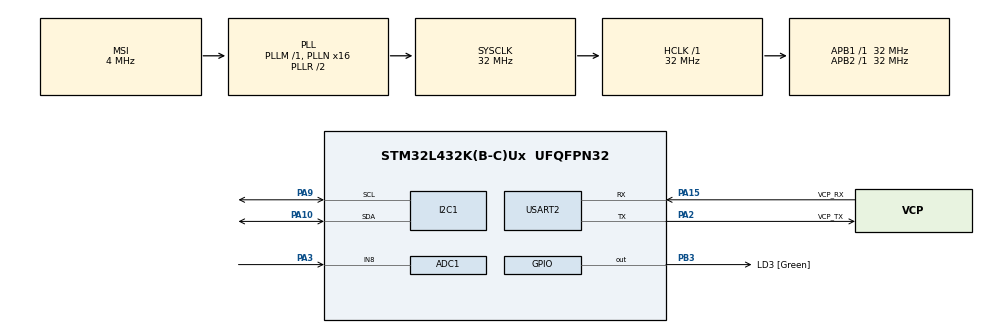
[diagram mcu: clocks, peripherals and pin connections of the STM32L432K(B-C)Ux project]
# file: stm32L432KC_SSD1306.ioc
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ADC1.Channel-2\#ChannelRegularConversion=ADC_CHANNEL_8
ADC1.ContinuousConvMode=ENABLE
ADC1.NbrOfConversionFlag=1
ADC1.OffsetNumber-2\#ChannelRegularConversion=ADC_OFFSET_NONE
ADC1.Rank-2\#ChannelRegularConversion=1
ADC1.SamplingTime-2\#ChannelRegularConversion=ADC_SAMPLETIME_2CYCLES_5
ADC1.master=1
I2C1.Timing=0x00707CBB
Mcu.Family=STM32L4
Mcu.Name=STM32L432K(B-C)Ux
Mcu.Package=UFQFPN32
NVIC.PriorityGroup=NVIC_PRIORITYGROUP_4
PA0.GPIO_Label=MCO [High speed clock in]
PA0.Mode=HSE-External-Clock-Source-for-LittleOrca
PA0.Signal=RCC_CK_IN
PA10.Mode=I2C
PA10.Signal=I2C1_SDA
PA13\ (JTMS-SWDIO).GPIO_Label=SWDIO
PA13\ (JTMS-SWDIO).Mode=Serial_Wire
PA13\ (JTMS-SWDIO).Signal=SYS_JTMS-SWDIO
PA14\ (JTCK-SWCLK).GPIO_Label=SWCLK
PA14\ (JTCK-SWCLK).Mode=Serial_Wire
PA14\ (JTCK-SWCLK).Signal=SYS_JTCK-SWCLK
PA15\ (JTDI).GPIO_Label=VCP_RX
PA15\ (JTDI).Mode=Asynchronous
PA15\ (JTDI).Signal=USART2_RX
PA2.GPIO_Label=VCP_TX
PA2.Mode=Asynchronous
PA2.Signal=USART2_TX
PA3.Signal=ADCx_IN8
PA9.Mode=I2C
PA9.Signal=I2C1_SCL
PB3\ (JTDO-TRACESWO).GPIO_Label=LD3 [Green]
PB3\ (JTDO-TRACESWO).Signal=GPIO_Output
PC14-OSC32_IN\ (PC14).Mode=LSE-External-Oscillator
PC14-OSC32_IN\ (PC14).Signal=RCC_OSC32_IN
PC15-OSC32_OUT\ (PC15).Mode=LSE-External-Oscillator
PC15-OSC32_OUT\ (PC15).Signal=RCC_OSC32_OUT
ProjectManager.HeapSize=0x200
ProjectManager.StackSize=0x400
ProjectManager.TargetToolchain=STM32CubeIDE
RCC.ADCFreq_Value=32000000
RCC.AHBFreq_Value=32000000
RCC.APB1Freq_Value=32000000
RCC.APB1TimFreq_Value=32000000
RCC.APB2Freq_Value=32000000
RCC.APB2TimFreq_Value=32000000
RCC.CortexFreq_Value=32000000
RCC.HCLKFreq_Value=32000000
RCC.HSE_VALUE=8000000
RCC.HSI16_VALUE=16000000
RCC.HSI48_VALUE=48000000
RCC.HSI_VALUE=16000000
RCC.MSI_VALUE=4000000
RCC.PLLMUL=RCC_PLLMUL_4
RCC.PLLN=16
RCC.PLLSAI1N=16
RCC.SYSCLKFreq_VALUE=32000000
RCC.SYSCLKSource=RCC_SYSCLKSOURCE_PLLCLK
RCC.USBFreq_Value=32000000
RCC.VCOOutputFreq_Value=64000000
SH.ADCx_IN8.0=ADC1_IN8,IN8-Single-Ended
USART2.VirtualMode-Asynchronous=VM_ASYNC
board=NUCLEO-L432KC

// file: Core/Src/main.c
/* USER CODE BEGIN Header */
/**
  ******************************************************************************
  * @file           : main.c
  * @brief          : Main program body
  ******************************************************************************
  * @attention
  *
  * <h2><center>&copy; Copyright (c) 2020 STMicroelectronics.
  * All rights reserved.</center></h2>
  *
  * This software component is licensed by ST under BSD 3-Clause license,
  * the "License"; You may not use this file except in compliance with the
  * License. You may obtain a copy of the License at:
  *                        opensource.org/licenses/BSD-3-Clause
  *
  ******************************************************************************
  */
/* USER CODE END Header */

#include "main.h"

/* USER CODE BEGIN Includes */
#include <string.h>
#include <stdio.h>
/* USER CODE END Includes */

/* USER CODE BEGIN PD */
#define SSD1306_USE_I2C
#define __DEBUG 1
#define BUFFERSIZE 100
#define I2CBUF	12
#define debug_print(x) 	do { if ( __DEBUG ) { strcpy(uartBuffer, x); HAL_UART_Transmit(&huart2, (unsigned char*) uartBuffer, strlen(uartBuffer), HAL_MAX_DELAY); }} while (0)
/* USER CODE END PD */

ADC_HandleTypeDef hadc1;

I2C_HandleTypeDef hi2c1;

UART_HandleTypeDef huart2;

/* USER CODE BEGIN PV */
const uint8_t SSD1306_ADDRESS = 0x3C << 1;
const uint8_t RANDOM_REG = 0x0F;

char uartBuffer[BUFFERSIZE] = "";
uint8_t I2CBuffer[I2CBUF] = {0};
HAL_StatusTypeDef returnValue = 0;
uint32_t adcValue=0;

/* USER CODE END PV */

void SystemClock_Config(void);
static void MX_GPIO_Init(void);
static void MX_USART2_UART_Init(void);
static void MX_ADC1_Init(void);
static void MX_I2C1_Init(void);

/* USER CODE BEGIN 0 */
void init() {
	ssd1306_RunTetris();
}
/* USER CODE END 0 */

int main(void)
{
  /* USER CODE BEGIN 1 */

	char buffer[50]="";
  /* USER CODE END 1 */

  /* MCU Configuration--------------------------------------------------------*/

  /* Reset of all peripherals, Initializes the Flash interface and the Systick. */
  HAL_Init();

  /* Configure the system clock */
  SystemClock_Config();

  /* Initialize all configured peripherals */
  MX_GPIO_Init();
  MX_USART2_UART_Init();
  MX_ADC1_Init();
  MX_I2C1_Init();

  /* Infinite loop */
  /* USER CODE BEGIN WHILE */
  debug_print("Hello from STM32L432KC dev board\r\n");
  init();
  while (1)
  {
    /* USER CODE END WHILE */

    /* USER CODE BEGIN 3 */
	  HAL_ADC_Start(&hadc1);
	  	  if( HAL_ADC_PollForConversion(&hadc1, HAL_MAX_DELAY) == HAL_OK)
	  	  {
	  		  adcValue = HAL_ADC_GetValue(&hadc1);
	  		  sprintf(buffer, "ADC: %d\r\n", adcValue%7+1);
	  		  HAL_UART_Transmit(&huart2, (unsigned char*) buffer, strlen(buffer), HAL_MAX_DELAY);
	  	  }
	  	  HAL_ADC_Stop(&hadc1);
	HAL_Delay(500);
  }
  /* USER CODE END 3 */
}
/* geeft een pseudo-random nummer op basis van de adcValue gemeten door de stm*/
int GetRandomNumber()
{
	adcValue = (adcValue%7)+1;
	return adcValue;
}
void SystemClock_Config(void)
{
  RCC_OscInitTypeDef RCC_OscInitStruct = {0};
  RCC_ClkInitTypeDef RCC_ClkInitStruct = {0};
  RCC_PeriphCLKInitTypeDef PeriphClkInit = {0};

  /** Configure LSE Drive Capability
  */
  HAL_PWR_EnableBkUpAccess();
  __HAL_RCC_LSEDRIVE_CONFIG(RCC_LSEDRIVE_LOW);
  /** Initializes the CPU, AHB and APB busses clocks
  */
  RCC_OscInitStruct.OscillatorType = RCC_OSCILLATORTYPE_LSE|RCC_OSCILLATORTYPE_MSI;
  RCC_OscInitStruct.LSEState = RCC_LSE_ON;
  RCC_OscInitStruct.MSIState = RCC_MSI_ON;
  RCC_OscInitStruct.MSICalibrationValue = 0;
  RCC_OscInitStruct.MSIClockRange = RCC_MSIRANGE_6;
  RCC_OscInitStruct.PLL.PLLState = RCC_PLL_ON;
  RCC_OscInitStruct.PLL.PLLSource = RCC_PLLSOURCE_MSI;
  RCC_OscInitStruct.PLL.PLLM = 1;
  RCC_OscInitStruct.PLL.PLLN = 16;
  RCC_OscInitStruct.PLL.PLLP = RCC_PLLP_DIV7;
  RCC_OscInitStruct.PLL.PLLQ = RCC_PLLQ_DIV2;
  RCC_OscInitStruct.PLL.PLLR = RCC_PLLR_DIV2;
  if (HAL_RCC_OscConfig(&RCC_OscInitStruct) != HAL_OK)
  {
    Error_Handler();
  }
  /** Initializes the CPU, AHB and APB busses clocks
  */
  RCC_ClkInitStruct.ClockType = RCC_CLOCKTYPE_HCLK|RCC_CLOCKTYPE_SYSCLK
                              |RCC_CLOCKTYPE_PCLK1|RCC_CLOCKTYPE_PCLK2;
  RCC_ClkInitStruct.SYSCLKSource = RCC_SYSCLKSOURCE_PLLCLK;
  RCC_ClkInitStruct.AHBCLKDivider = RCC_SYSCLK_DIV1;
  RCC_ClkInitStruct.APB1CLKDivider = RCC_HCLK_DIV1;
  RCC_ClkInitStruct.APB2CLKDivider = RCC_HCLK_DIV1;

  if (HAL_RCC_ClockConfig(&RCC_ClkInitStruct, FLASH_LATENCY_1) != HAL_OK)
  {
    Error_Handler();
  }
  PeriphClkInit.PeriphClockSelection = RCC_PERIPHCLK_USART2|RCC_PERIPHCLK_I2C1
                              |RCC_PERIPHCLK_ADC;
  PeriphClkInit.Usart2ClockSelection = RCC_USART2CLKSOURCE_PCLK1;
  PeriphClkInit.I2c1ClockSelection = RCC_I2C1CLKSOURCE_PCLK1;
  PeriphClkInit.AdcClockSelection = RCC_ADCCLKSOURCE_PLLSAI1;
  PeriphClkInit.PLLSAI1.PLLSAI1Source = RCC_PLLSOURCE_MSI;
  PeriphClkInit.PLLSAI1.PLLSAI1M = 1;
  PeriphClkInit.PLLSAI1.PLLSAI1N = 16;
  PeriphClkInit.PLLSAI1.PLLSAI1P = RCC_PLLP_DIV7;
  PeriphClkInit.PLLSAI1.PLLSAI1Q = RCC_PLLQ_DIV2;
  PeriphClkInit.PLLSAI1.PLLSAI1R = RCC_PLLR_DIV2;
  PeriphClkInit.PLLSAI1.PLLSAI1ClockOut = RCC_PLLSAI1_ADC1CLK;
  if (HAL_RCCEx_PeriphCLKConfig(&PeriphClkInit) != HAL_OK)
  {
    Error_Handler();
  }
  /** Configure the main internal regulator output voltage
  */
  if (HAL_PWREx_ControlVoltageScaling(PWR_REGULATOR_VOLTAGE_SCALE1) != HAL_OK)
  {
    Error_Handler();
  }
  /** Enable MSI Auto calibration
  */
  HAL_RCCEx_EnableMSIPLLMode();
}

static void MX_ADC1_Init(void)
{

  ADC_ChannelConfTypeDef sConfig = {0};

  /** Common config
  */
  hadc1.Instance = ADC1;
  hadc1.Init.ClockPrescaler = ADC_CLOCK_ASYNC_DIV1;
  hadc1.Init.Resolution = ADC_RESOLUTION_12B;
  hadc1.Init.DataAlign = ADC_DATAALIGN_RIGHT;
  hadc1.Init.ScanConvMode = ADC_SCAN_DISABLE;
  hadc1.Init.EOCSelection = ADC_EOC_SINGLE_CONV;
  hadc1.Init.LowPowerAutoWait = DISABLE;
  hadc1.Init.ContinuousConvMode = ENABLE;
  hadc1.Init.NbrOfConversion = 1;
  hadc1.Init.DiscontinuousConvMode = DISABLE;
  hadc1.Init.ExternalTrigConv = ADC_SOFTWARE_START;
  hadc1.Init.ExternalTrigConvEdge = ADC_EXTERNALTRIGCONVEDGE_NONE;
  hadc1.Init.DMAContinuousRequests = DISABLE;
  hadc1.Init.Overrun = ADC_OVR_DATA_PRESERVED;
  hadc1.Init.OversamplingMode = DISABLE;
  if (HAL_ADC_Init(&hadc1) != HAL_OK)
  {
    Error_Handler();
  }
  /** Configure Regular Channel
  */
  sConfig.Channel = ADC_CHANNEL_8;
  sConfig.Rank = ADC_REGULAR_RANK_1;
  sConfig.SamplingTime = ADC_SAMPLETIME_2CYCLES_5;
  sConfig.SingleDiff = ADC_SINGLE_ENDED;
  sConfig.OffsetNumber = ADC_OFFSET_NONE;
  sConfig.Offset = 0;
  if (HAL_ADC_ConfigChannel(&hadc1, &sConfig) != HAL_OK)
  {
    Error_Handler();
  }

}

static void MX_I2C1_Init(void)
{

  hi2c1.Instance = I2C1;
  hi2c1.Init.Timing = 0x00707CBB;
  hi2c1.Init.OwnAddress1 = 0;
  hi2c1.Init.AddressingMode = I2C_ADDRESSINGMODE_7BIT;
  hi2c1.Init.DualAddressMode = I2C_DUALADDRESS_DISABLE;
  hi2c1.Init.OwnAddress2 = 0;
  hi2c1.Init.OwnAddress2Masks = I2C_OA2_NOMASK;
  hi2c1.Init.GeneralCallMode = I2C_GENERALCALL_DISABLE;
  hi2c1.Init.NoStretchMode = I2C_NOSTRETCH_DISABLE;
  if (HAL_I2C_Init(&hi2c1) != HAL_OK)
  {
    Error_Handler();
  }
  /** Configure Analogue filter
  */
  if (HAL_I2CEx_ConfigAnalogFilter(&hi2c1, I2C_ANALOGFILTER_ENABLE) != HAL_OK)
  {
    Error_Handler();
  }
  /** Configure Digital filter
  */
  if (HAL_I2CEx_ConfigDigitalFilter(&hi2c1, 0) != HAL_OK)
  {
    Error_Handler();
  }

}

static void MX_USART2_UART_Init(void)
{

  huart2.Instance = USART2;
  huart2.Init.BaudRate = 115200;
  huart2.Init.WordLength = UART_WORDLENGTH_8B;
  huart2.Init.StopBits = UART_STOPBITS_1;
  huart2.Init.Parity = UART_PARITY_NONE;
  huart2.Init.Mode = UART_MODE_TX_RX;
  huart2.Init.HwFlowCtl = UART_HWCONTROL_NONE;
  huart2.Init.OverSampling = UART_OVERSAMPLING_16;
  huart2.Init.OneBitSampling = UART_ONE_BIT_SAMPLE_DISABLE;
  huart2.AdvancedInit.AdvFeatureInit = UART_ADVFEATURE_NO_INIT;
  if (HAL_UART_Init(&huart2) != HAL_OK)
  {
    Error_Handler();
  }

}

static void MX_GPIO_Init(void)
{
  GPIO_InitTypeDef GPIO_InitStruct = {0};

  /* GPIO Ports Clock Enable */
  __HAL_RCC_GPIOC_CLK_ENABLE();
  __HAL_RCC_GPIOA_CLK_ENABLE();
  __HAL_RCC_GPIOB_CLK_ENABLE();

  /*Configure GPIO pin Output Level */
  HAL_GPIO_WritePin(LD3_GPIO_Port, LD3_Pin, GPIO_PIN_RESET);

  /*Configure GPIO pin : LD3_Pin */
  GPIO_InitStruct.Pin = LD3_Pin;
  GPIO_InitStruct.Mode = GPIO_MODE_OUTPUT_PP;
  GPIO_InitStruct.Pull = GPIO_NOPULL;
  GPIO_InitStruct.Speed = GPIO_SPEED_FREQ_LOW;
  HAL_GPIO_Init(LD3_GPIO_Port, &GPIO_InitStruct);

}

void Error_Handler(void)
{
}

/************************ (C) COPYRIGHT STMicroelectronics *****END OF FILE****/
